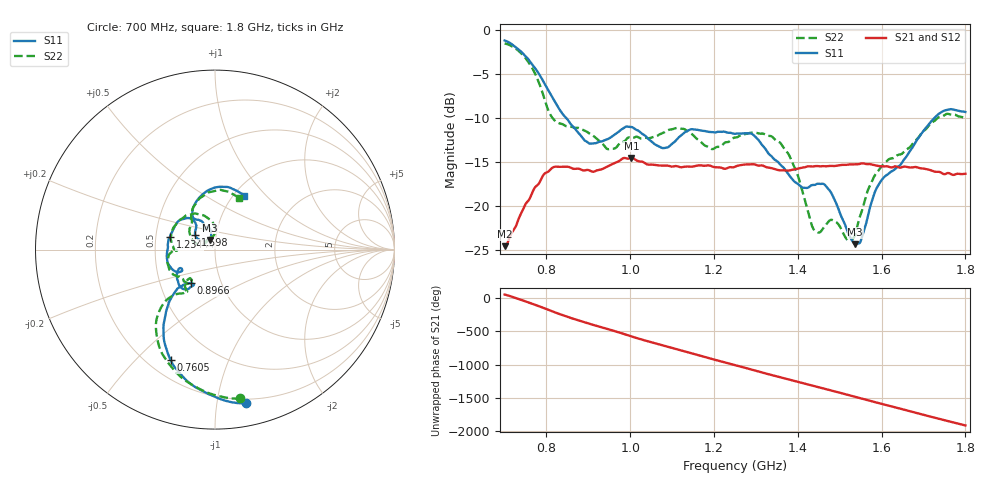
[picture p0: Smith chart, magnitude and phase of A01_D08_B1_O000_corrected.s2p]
! Created with skrf 1.9.0 (http://scikit-rf.org).
# Hz S RI R 50.0
!freq ReS11 ImS11 ReS21 ImS21 ReS12 ImS12 ReS22 ImS22
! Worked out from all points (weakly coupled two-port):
!   1601 points, 700 MHz to 1.8 GHz, reference 50 ohm
!   highest |S21| = -14.52 dB at 1.002 GHz (marker M1); lowest = -24.6 dB at 700.7 MHz (marker M2)
!   lowest |S11| = -24.3 dB at 1.537 GHz (marker M3), VSWR 1.13, Z = 47.1 + j5.11 ohm
!   |S11| at or under -10 dB: 847.5 MHz to 1.726 GHz (878 MHz wide, 68.2 % of centre)
!   |S22| runs from -23.9 to -1.5 dB; largest |S21 - S12| = 0.0038
!   S11 on the Smith chart (normalised r, x): 700 MHz: 0.17, -1.21; 760.5 MHz: 0.29, -0.64; 896.6 MHz: 0.71, -0.28; 1.234 GHz: 0.59, +0.09; 1.598 GHz: 0.79, +0.13; 1.8 GHz: 1.12, +0.76
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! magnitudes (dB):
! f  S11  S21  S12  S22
! 700 MHz  -1.2  -24.6  -24.3  -1.5
! 700.7 MHz  -1.2  -24.6  -24.3  -1.5
! 760.5 MHz  -3.6  -19.1  -19.0  -3.9
! 815.5 MHz  -7.7  -15.6  -15.7  -10.1
! 883.6 MHz  -12.1  -15.9  -15.8  -11.3
! 896.6 MHz  -12.7  -15.9  -16.0  -11.6
! 948.2 MHz  -12.3  -15.4  -15.5  -13.5
! 1.002 GHz  -11.0  -14.5  -14.6  -12.3
! 1.067 GHz  -13.2  -15.4  -15.3  -11.9
! 1.145 GHz  -11.3  -15.5  -15.5  -11.7
! 1.234 GHz  -11.7  -15.6  -15.7  -12.7
! 1.25 GHz  -11.8  -15.5  -15.5  -12.2
! 1.293 GHz  -11.9  -15.2  -15.3  -11.6
! 1.359 GHz  -15.3  -15.9  -15.9  -12.9
! 1.397 GHz  -17.4  -15.8  -15.8  -16.1
! 1.434 GHz  -17.6  -15.5  -15.5  -22.2
! 1.475 GHz  -18.2  -15.4  -15.5  -21.7
! 1.537 GHz  -24.3  -15.2  -15.3  -23.2
! 1.598 GHz  -17.2  -15.5  -15.5  -15.6
! 1.617 GHz  -16.3  -15.5  -15.5  -14.7
! 1.735 GHz  -9.6  -16.1  -16.1  -9.9
! 1.8 GHz  -9.3  -16.3  -16.3  -10.0
